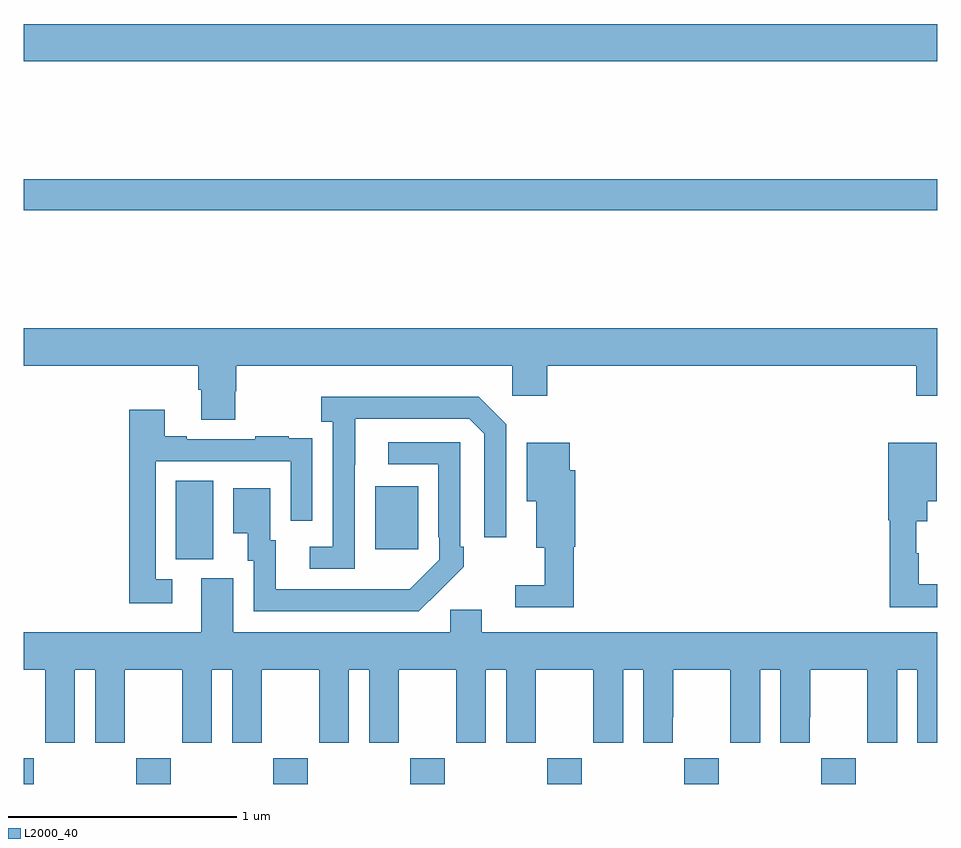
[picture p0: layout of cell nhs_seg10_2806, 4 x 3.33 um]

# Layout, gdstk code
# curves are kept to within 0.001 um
import gdstk
lib = gdstk.Library(unit=1e-6, precision=1e-09)
def R(c, l, rs):  # rectangles x0, y0, x1, y1
    for r in rs: c.add(gdstk.rectangle(r[:2], r[2:], *l))
def A(c, l, x, y, w, h, nx, ny, dx, dy):  # array of equal rectangles
    R(c, l, [(x+i*dx, y+j*dy, x+i*dx+w, y+j*dy+h) for i in range(nx) for j in range(ny)])
def P(c, l, *ps):  # polygons
    for p in ps: c.add(gdstk.Polygon(p, *l))
L2000_40 = (2000, 40)

nhs_seg10_2806 = lib.new_cell('nhs_seg10_2806')
A(nhs_seg10_2806, L2000_40, 263.493, 1282.5, 0.15, 0.112, 6, 1, 0.6, 0)
R(nhs_seg10_2806, L2000_40, [(263,1282.5,263.043,1282.612), (263.666,1283.485,263.83,1283.828), (264.539,1283.529,264.727,1283.803), (263,1285.012,267,1285.148), (263,1285.664,267,1285.828)])
P(nhs_seg10_2806, L2000_40, [(263.925,1284.219),(263.93,1284.219),(263.93,1284.332),(265.14,1284.332),(265.14,1284.201),(265.292,1284.201),(265.292,1284.332),(266.909,1284.332),(266.909,1284.201),(267,1284.201),(267,1284.496),(263,1284.496),(263,1284.332),(263.765,1284.332),(263.765,1284.226),(263.777,1284.226),(263.777,1284.094),(263.925,1284.094)],
  [(264.45,1283.899),(264.451,1284.099),(264.951,1284.099),(265.017,1284.033),(265.017,1283.58),(265.113,1283.58),(265.113,1284.075),(264.992,1284.196),(264.303,1284.196),(264.303,1284.086),(264.354,1284.086),(264.354,1283.538),(264.252,1283.538),(264.252,1283.442),(264.45,1283.442)],
  [(263.65,1283.397),(263.577,1283.397),(263.577,1283.913),(264.168,1283.913),(264.168,1283.652),(264.264,1283.652),(264.264,1283.906),(264.263,1283.906),(264.263,1284.015),(264.161,1284.015),(264.161,1284.022),(264.013,1284.022),(264.013,1284.009),(263.713,1284.009),(263.713,1284.022),(263.617,1284.022),(263.617,1284.139),(263.461,1284.139),(263.461,1283.292),(263.65,1283.292)],
  [(264.821,1283.347),(264.822,1283.346),(264.927,1283.451),(264.927,1283.539),(264.912,1283.539),(264.912,1283.997),(264.597,1283.997),(264.597,1283.901),(264.816,1283.901),(264.816,1283.581),(264.819,1283.581),(264.819,1283.481),(264.691,1283.353),(264.103,1283.352),(264.103,1283.568),(264.079,1283.568),(264.079,1283.794),(263.918,1283.794),(263.918,1283.597),(263.981,1283.597),(263.981,1283.478),(264.006,1283.478),(264.006,1283.256),(264.73,1283.256)],
  [(267,1283.375),(266.92,1283.375),(266.92,1283.511),(266.909,1283.511),(266.909,1283.651),(266.956,1283.651),(266.956,1283.738),(266.998,1283.738),(266.998,1283.995),(266.786,1283.995),(266.786,1283.655),(266.791,1283.655),(266.791,1283.274),(267,1283.274)],
  [(265.409,1283.538),(265.415,1283.538),(265.415,1283.874),(265.39,1283.874),(265.39,1283.995),(265.202,1283.995),(265.202,1283.738),(265.244,1283.738),(265.244,1283.534),(265.281,1283.534),(265.281,1283.371),(265.152,1283.371),(265.152,1283.274),(265.409,1283.274)],
  [(265.006,1283.262),(264.867,1283.262),(264.867,1283.164),(263.917,1283.164),(263.917,1283.4),(263.777,1283.4),(263.777,1283.164),(263,1283.164),(263,1283),(263.093,1283),(263.093,1282.792),(263.094,1282.792),(263.094,1282.68),(263.224,1282.68),(263.224,1283),(263.312,1283),(263.312,1282.68),(263.442,1282.68),(263.442,1282.792),(263.443,1282.792),(263.443,1283),(263.693,1283),(263.693,1282.792),(263.694,1282.792),(263.694,1282.68),(263.824,1282.68),(263.824,1283),(263.912,1283),(263.912,1282.68),(264.042,1282.68),(264.042,1282.792),(264.043,1282.792),(264.043,1283),(264.293,1283),(264.293,1282.792),(264.294,1282.792),(264.294,1282.68),(264.424,1282.68),(264.424,1283),(264.512,1283),(264.512,1282.68),(264.642,1282.68),(264.642,1282.792),(264.643,1282.792),(264.643,1283),(264.893,1283),(264.893,1282.792),(264.894,1282.792),(264.894,1282.68),(265.024,1282.68),(265.024,1283),(265.112,1283),(265.112,1282.68),(265.242,1282.68),(265.242,1282.792),(265.243,1282.792),(265.243,1283),(265.493,1283),(265.493,1282.792),(265.494,1282.792),(265.494,1282.68),(265.624,1282.68),(265.624,1283),(265.712,1283),(265.712,1282.68),(265.842,1282.68),(265.842,1282.792),(265.843,1282.792),(265.843,1283),(266.093,1283),(266.093,1282.792),(266.094,1282.792),(266.094,1282.68),(266.224,1282.68),(266.224,1283),(266.312,1283),(266.312,1282.68),(266.442,1282.68),(266.442,1282.792),(266.443,1282.792),(266.443,1283),(266.693,1283),(266.693,1282.792),(266.694,1282.792),(266.694,1282.68),(266.824,1282.68),(266.824,1283),(266.912,1283),(266.912,1282.68),(267,1282.68),(267,1283.164),(265.006,1283.164)])

lib.write_gds('nhs_seg10_2806.gds')
